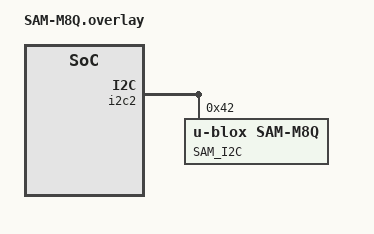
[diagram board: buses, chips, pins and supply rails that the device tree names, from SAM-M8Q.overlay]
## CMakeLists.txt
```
# SPDX-License-Identifier: Apache-2.0

cmake_minimum_required(VERSION 3.20.0)

list(APPEND BOARD_ROOT ${CMAKE_CURRENT_SOURCE_DIR}/../../cas-zephyr-drivers/zephyr)
list(APPEND SOC_ROOT ${CMAKE_CURRENT_SOURCE_DIR}/../../cas-zephyr-drivers/zephyr)
list(APPEND DTS_ROOT ${CMAKE_CURRENT_SOURCE_DIR}/../../cas-zephyr-drivers/zephyr)

# To add out-of-tree device drivers to the project, uncomment the following line.
# list(APPEND ZEPHYR_EXTRA_MODULES ${CMAKE_CURRENT_SOURCE_DIR}/../../cas-zephyr-drivers/zephyr/drivers/my_driver)

find_package(Zephyr REQUIRED HINTS $ENV{ZEPHYR_BASE})

# Update the following line to contain the name of the current application.
project(GPS)

# If you have multiple source files, list all of them here.
target_sources(app PRIVATE src/main.c src/sam_m8q.c src/sc18is600.c src/sam_m8q.h src/sc18is600.h src/cas_spi.c src/cas_spi.h)
```

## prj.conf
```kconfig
CONFIG_I2C=y
CONFIG_SAM_M8Q=y
```

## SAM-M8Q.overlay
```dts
&i2c2 {
	status = "okay";
	sam_i2c_node: sam@42 {
		compatible = "u-blox,sam-m8q";
		reg = <0x42>;
		label = "SAM_I2C";
	};
};
```

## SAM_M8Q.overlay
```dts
&i2c3 {
	status = "okay";
	sam_m8q_node: sam_m8q@42 {
		compatible = "u-blox,sam-m8q";
		reg = <0x42>;
		label = "SAM_M8Q";
	};
};
```

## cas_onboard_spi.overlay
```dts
&spi3 {
	status = "okay";
	cs-gpios = <&gpioc 8 GPIO_ACTIVE_LOW>;
	label = "SPI3";
};
```

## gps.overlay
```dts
&i2c1 {
	status = "okay";
	clock-frequency = <I2C_BITRATE_STANDARD>;
};
```

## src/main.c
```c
/* Application to communicate with the SAM-M8Q GNSS module over 
 * I2C and get latitude, longitude, and altitude readings.
 * 
 * The cas-stack needs to have the I2C1 and I2C2 buses shorted together
 * for this application to work, because the sam_m8q is actually
 * attached to the I2C2 bus.
 */

#include <zephyr.h>
#include <device.h>
#include <devicetree.h>
#include <drivers/i2c.h>
#include "sam_m8q.h"

#define DEVICE_NODE cas_i2c0

void main(void) {

	printk("--- SAM-M8Q GPS Module ---\n");

	const struct device *i2c_dev = DEVICE_DT_GET(DT_NODELABEL(DEVICE_NODE));
	if (i2c_dev == NULL) {
		printk("Error in main.c: Failed to get device binding.\n");
		return;
	}
	if (!device_is_ready(i2c_dev)) {
		printk("Error in main.c: Device is not ready.\n");
		return;
	}

	PVTData *pvt;

	while(1) {

		k_msleep(1000);
	
		pvt = sam_m8q_get_pvt_data(i2c_dev);

		printk("Year: %d, Month: %d, Day: %d\n", pvt->year, pvt->month, pvt->day);
		printk("Hour: %d, Minute: %d, Second: %d\n", pvt->hour, pvt->min, pvt->sec);
		printk("Latitude: %d degrees, Longitude: %d degrees\n", (pvt->latitude)/10000000, (pvt->longitude)/10000000);
		printk("Height: %d meters, Height above sea level: %d meters\n", (pvt->height)/1000, (pvt->hMSL)/1000);
		printk("Time/Date valid?: %d", (pvt->validTimeFlag & 0x03 != 0));
		printk("\n\n");

	}

	return;

}
```

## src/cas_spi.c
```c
#include <device.h>
#include <drivers/spi.h>
#include <drivers/gpio.h>
#include "cas_spi.h"

uint8_t write_buf_contents[MAX_SPI_DATA_LENGTH];
uint8_t read_buf_contents[MAX_SPI_DATA_LENGTH];

struct spi_buf write_buf = {
	.buf = write_buf_contents,
	.len = 0,
};
struct spi_buf read_buf = {
	.buf = read_buf_contents,
	.len = 0,
};

struct spi_buf_set write_buf_set = {
	.buffers = &write_buf,
	.count = 1,
};
struct spi_buf_set read_buf_set = {
	.buffers = &read_buf,
	.count = 1,
};

void clear_write_buf_set() {
	for (int i=0; i<MAX_SPI_DATA_LENGTH; i++) { write_buf_contents[i] = 0x00; }
	write_buf.len = 0;
}
void clear_read_buf_set() {
	for (int i=0; i<MAX_SPI_DATA_LENGTH; i++) { read_buf_contents[i] = 0x00; }
	read_buf.len = 0;
}

int cas_spi_transceive(struct device *dev, struct spi_config *cfg, 
						uint8_t *send_buf, uint8_t send_length,
						uint8_t *receive_buf, uint8_t receive_length) {

	if (send_length > MAX_SPI_DATA_LENGTH || receive_length > MAX_SPI_DATA_LENGTH) {
		printk("Error in cas_spi.c: write or read length is too long.\n");
		return -1;
	}

	clear_write_buf_set();
	clear_read_buf_set();

	for (int i=0; i<send_length; i++) { write_buf_contents[i] = send_buf[i]; }
	write_buf.len = send_length;
	read_buf.len = receive_length;

	int status = spi_transceive(dev, cfg, &write_buf_set, &read_buf_set);
	if (status != 0) printk("Error in cas_spi.c: Failed to transceive over spi.\n");

	for (int i=0; i<receive_length; i++) { receive_buf[i] = read_buf_contents[i]; }

	return status;

}
```

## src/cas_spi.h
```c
#include <device.h>
#include <drivers/spi.h>
#include <drivers/gpio.h>

#ifndef CAS_SPI_HEADER
#define CAS_SPI_HEADER

/* Arbitrarily chosen for convenience purposes. This value can be increased if
 * desired, but be aware that the specific device you are communicating with
 * might have stricter limits on the amount of data it can recieve. */
#define MAX_SPI_DATA_LENGTH 90

void clear_write_buf_set();

void clear_read_buf_set();

int cas_spi_transceive(struct device *dev, struct spi_config *cfg, 
					   uint8_t *send_buf, uint8_t send_length,
					   uint8_t *receive_buf, uint8_t receive_length);

#endif
```

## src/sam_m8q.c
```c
/* u-blox SAM-M8Q GNSS module
 * 
 * Datasheet: https://content.u-blox.com/sites/default/files/SAM-M8Q_DataSheet_%28UBX-16012619%29.pdf
 * Protocol Specification: https://content.u-blox.com/sites/default/files/products/documents/u-blox8-M8_ReceiverDescrProtSpec_UBX-13003221.pdf
 *
 * Note: for more information about how this code works, please
 * see pages 168-179 and page 374 of the protocol specification.
 */

#include <device.h>
#include <drivers/i2c.h>
#include "sam_m8q.h"

/* Copied from this implementation:
 * https://github.com/melopero/Melopero_UBX/blob/master/src/Melopero_UBX.cpp */
void computeChecksum(UbxMessage *msg){
  msg->checksumA = msg->msgClass;
  msg->checksumB = msg->checksumA;
  msg->checksumA += msg->msgId;
  msg->checksumB += msg->checksumA;
  msg->checksumA += msg->length % (1<<8);
  msg->checksumB += msg->checksumA;
  msg->checksumA += msg->length >> 8;
  msg->checksumB += msg->checksumA;
  for (int i = 0; i < msg->length; i++){
    msg->checksumA += msg->payload[i];
    msg->checksumB += msg->checksumA;
  }
}

/* The I2C bytes need to be sent all in one I2C transmission.
 * It doesn't work if you transmit one byte at a time. */
void send_ubx_msg(struct device *dev, UbxMessage *msg) {
	uint8_t send_buf[MAX_UBX_MESSAGE_LENGTH];
	send_buf[0] = SYNC_CHAR_1;
	send_buf[1] = SYNC_CHAR_2;
	send_buf[2] = msg->msgClass;
	send_buf[3] = msg->msgId;
	send_buf[4] = (msg->length & 0x00FF);
	send_buf[5] = ((msg->length & 0xFF00) >> 8);
	for (int i=0; i<(msg->length); i++) {
		send_buf[i+6] = msg->payload[i];
	}
	send_buf[msg->length + 6] = msg->checksumA;
	send_buf[msg->length + 7] = msg->checksumB;
	i2c_write(dev, send_buf, (msg->length + 8), SAM_M8Q_I2C_ADDR);
	return;
}

/* The sam-m8q is constantly outputting garbage we don't need
 * (including NMEA messages and lots of 0xFF bytes), so it's
 * important to check the two sync chars to verify this is
 * the correct message we want to read in. */
UbxMessage* receive_ubx_msg(struct device *dev) {

	int timeout = 1000000;

	char sync1 = 0;
	char sync2 = 0;
	UbxMessage *msg = create_ubx_msg(0, 0, 0, NULL);
	
	while (1) {

		timeout--;
		if (timeout < 0) { 
			printk("Error in sam-m8q.c: Waited too long to recieve UBX reply.\n");
			break; 
		}

		i2c_read(dev, &sync1, 1, SAM_M8Q_I2C_ADDR);
		if (sync1 == SYNC_CHAR_1) {
			i2c_read(dev, &sync2, 1, SAM_M8Q_I2C_ADDR);
			if (sync2 == SYNC_CHAR_2) {

				i2c_read(dev, &(msg->msgClass), 1, SAM_M8Q_I2C_ADDR);
				i2c_read(dev, &(msg->msgId), 1, SAM_M8Q_I2C_ADDR);
				i2c_read(dev, &(msg->length), 2, SAM_M8Q_I2C_ADDR);
				i2c_read(dev, msg->payload, msg->length, SAM_M8Q_I2C_ADDR);
				i2c_read(dev, &(msg->checksumA), 1, SAM_M8Q_I2C_ADDR);
				i2c_read(dev, &(msg->checksumB), 1, SAM_M8Q_I2C_ADDR);
				break;

			}
		}
	}

	return msg;

}

UbxMessage* create_ubx_msg(uint8_t class, uint8_t id, uint16_t length, uint8_t *payload_buf) {
	if (length > MAX_UBX_PAYLOAD_LENGTH) {
		printk("Error in sam-m8q.c: Message is too long.\n");
		return NULL;
	}
	static UbxMessage msg;
	msg.msgClass = class;
	msg.msgId = id;
	msg.length = length;
	for (int i=0; i<MAX_UBX_PAYLOAD_LENGTH; i++) { msg.payload[i] = 0; }
	for (int i=0; i<length; i++) { msg.payload[i] = payload_buf[i]; }
	computeChecksum(&msg);
	return &msg;
}

PVTData* sam_m8q_get_pvt_data(struct device *dev) {
	UbxMessage *msg_request = create_ubx_msg(NAV_CLASS, NAV_PVT, 0, NULL);
	send_ubx_msg(dev, msg_request);
	UbxMessage *msg_response = receive_ubx_msg(dev);
	return (PVTData*) msg_response->payload;
}
```

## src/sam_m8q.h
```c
/* u-blox SAM-M8Q GNSS module
 * 
 * Datasheet: https://content.u-blox.com/sites/default/files/SAM-M8Q_DataSheet_%28UBX-16012619%29.pdf
 * Protocol Specification: https://content.u-blox.com/sites/default/files/products/documents/u-blox8-M8_ReceiverDescrProtSpec_UBX-13003221.pdf
 */

#include <device.h>
#include <drivers/i2c.h>

#ifndef SAM_M8Q_HEADER
#define SAM_M8Q_HEADER

#define SAM_M8Q_I2C_ADDR 0x42

#define SYNC_CHAR_1 0xB5
#define SYNC_CHAR_2 0x62

#define NAV_CLASS 0x01
#define RXM_CLASS 0x02
#define INF_CLASS 0x04
#define ACK_CLASS 0x05
#define CFG_CLASS 0x06
#define UPD_CLASS 0x09
#define MON_CLASS 0x0A
#define AID_CLASS 0x0B
#define TIM_CLASS 0x0D
#define ESF_CLASS 0x10
#define MGA_CLASS 0x13
#define LOG_CLASS 0x21
#define SEC_CLASS 0x27
#define HNR_CLASS 0x28

#define NAV_POSLLH 0x02
#define NAV_PVT 0x07

#define ACK_ACK 0x01
#define ACK_NAK 0x00

#define CFG_PRT 0x00
#define CFG_MSG 0x01
#define CFG_RATE 0x08

#define NO_FIX 0
#define DEAD_RECKONING_ONLY 1
#define TWO_D_FIX 2
#define THREE_D_FIX 3
#define GNSS_DEAD_RECKONING_COMBINED 4
#define TIME_ONLY_FIX 5

/* Arbitrarily chosen value since it is a
 * convenient round number. */
#define MAX_UBX_PAYLOAD_LENGTH 100
/* The length of the entire message is equal to
 * the payload length plus 1 byte for the class, 1
 * byte for the id, 2 bytes for the length, 2 bytes
 * for the CRC, and 2 bytes for the sync chars. */
#define MAX_UBX_MESSAGE_LENGTH (MAX_UBX_PAYLOAD_LENGTH + 8)

/* Copied from this implementation:
 * https://github.com/melopero/Melopero_UBX/blob/master/src/Melopero_UBX.h */
typedef struct {
    uint8_t msgClass;
    uint8_t msgId;
    uint16_t length;
    uint8_t payload[MAX_UBX_PAYLOAD_LENGTH];
    uint8_t checksumA;
    uint8_t checksumB;
} UbxMessage;

/* Copied from this implementation:
 * https://github.com/melopero/Melopero_UBX/blob/master/src/Melopero_UBX.h */
typedef struct {
 uint32_t itow;
 uint16_t year;
 uint8_t month;
 uint8_t day;
 uint8_t hour;
 uint8_t min;
 uint8_t sec;
 uint8_t validTimeFlag; // 7 | 6 | 5 | 4 | 3:validMag | 2:fullyResolved | 1:validTime | 0:validDate
 uint32_t timeAccuracy; //nanoseconds
 int32_t nano; //nanoseconds
 uint8_t fixType;
 uint8_t fixStatusFlags;
 uint8_t additionalFlags;
 uint8_t numberOfSatellites;
 int32_t longitude; //degrees
 int32_t latitude; //degrees
 int32_t height; //mm
 int32_t hMSL; //mm
 uint32_t horizontalAccuracy;
 uint32_t verticalAccuracy;
 int32_t velocityNorth; //mm/s
 int32_t velocityEast; //mm/s
 int32_t velocityDown; //mm/s
 int32_t groundSpeed; //mm/s
 int32_t headingOfMotion; //degrees
 uint32_t speedAccuracy; //mm/s
 int32_t headingAccuracy; //mm/s
 uint16_t positionDOP;
 uint8_t reserved;
 int32_t headingOfVehicle;
 int16_t magneticDeclination;
 uint16_t declinationAccuracy;
} PVTData;

void computeChecksum(UbxMessage *msg);

void send_ubx_msg(struct device *dev, UbxMessage *msg);

UbxMessage* receive_ubx_msg(struct device *dev);

UbxMessage* create_ubx_msg(uint8_t class, uint8_t id, uint16_t length, uint8_t *payload_buf);

PVTData* sam_m8q_get_pvt_data(struct device *dev);

#endif
```

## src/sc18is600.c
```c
/* SC18IS600 SPI-to-I2C translator module
 *
 * Datasheet: https://www.nxp.com/docs/en/data-sheet/SC18IS600.pdf
 *
 * Note: For more information about how this code works, please 
 * see pages 11-14 of the datasheet.
 */

#include <string.h>
#include <device.h>
#include <drivers/spi.h>
#include <drivers/gpio.h>
#include "sc18is600.h"
#include "cas_spi.h"

uint8_t read_internal_reg(struct device *dev, struct spi_config *cfg, uint8_t reg_address) {

	int status = 0;

	uint8_t send_buf[3] = { REG_READ_COMMAND, reg_address, 0x00 };
	int send_length = 3;
	uint8_t recieve_buf[3] = { 0x00, 0x00, 0x00 };
	int recieve_length = 3;

	status = cas_spi_transceive(dev, cfg, send_buf, send_length, recieve_buf, recieve_length);

	if (status != 0) printk("Error in sc18is600.c: Failed to read internal register.\n");

	return recieve_buf[2];

}

int check_i2c_status(struct device *dev, struct spi_config *cfg) {
	int status = 0;
	uint8_t error_code = read_internal_reg(dev, cfg, I2C_STATUS_REG);
	switch (error_code) {
		case I2C_NO_ERR : status = 0; break;
		case I2C_ERR_NO_RESPONSE_1 : status = 1; printk("Error in sc18is600.c: I2C no response (type 1).\n");
		case I2C_ERR_NO_RESPONSE_2 : status = 2; printk("Error in sc18is600.c: I2C no response (type 2).\n");
		case I2C_ERR_BUSY : status = 3; printk("Error in sc18is600.c: I2C device is busy.\n");
		case I2C_ERR_TIMEOUT : status = 4; printk("Error in sc18is600.c: I2C timeout.\n");
		case I2C_ERR_INVALID_LENGTH : status = 5; printk("Error in sc18is600.c: invalid I2C message length.\n");
	}
	return status;
}

int i2c_write_translated(struct device *dev, struct spi_config *cfg, uint8_t *i2c_data_buf, uint8_t i2c_num_bytes, uint8_t i2c_addr) {

	int status = 0;

	uint8_t send_buf[MAX_SPI_DATA_LENGTH];
	send_buf[0] = WRITE_COMMAND;
	send_buf[1] = i2c_num_bytes;
	send_buf[2] = i2c_addr;
	for (int i=0; i<i2c_num_bytes; i++) { send_buf[i+3] = i2c_data_buf[i]; }
	int send_length = i2c_num_bytes + 3;

	uint8_t recieve_buf = NULL;
	int recieve_length = 0;

	status = cas_spi_transceive(dev, cfg, send_buf, send_length, recieve_buf, recieve_length);

	if (status != 0) printk("Error in sc18is600.c: SPI-write to I2C-write translation failed.\n");

	status = check_i2c_status(dev, cfg);

	if (status != 0) printk("Error in sc18is600.c: I2C error code appeared in I2C status register.\n");

	return status;
	
}

/* The first command tells the device to read from the I2C bus and store the data
 * in the read buffer. The second command tells the device to return the data in the
 * read buffer to the CPU over the SPI bus. */
int i2c_read_translated(struct device *dev, struct spi_config *cfg, uint8_t *i2c_data_buf, uint8_t i2c_num_bytes, uint8_t i2c_addr) {

	int status = 0;

	uint8_t send_1_buf[3] = { READ_COMMAND, i2c_num_bytes, i2c_addr };
	int send_1_length = 3;
	uint8_t recieve_1_buf = NULL;
	int recieve_1_length = 0;

	status = cas_spi_transceive(dev, cfg, send_1_buf, send_1_length, recieve_1_buf, recieve_1_length);

	if (status != 0) printk("Error in sc18is600.c: SPI-read to I2C-read translation failed (part 1).\n");

	uint8_t send_2_buf[1] = { READ_BUFFER_COMMAND };
	int send_2_length = 1;
	uint8_t recieve_2_buf[MAX_SPI_DATA_LENGTH];
	int recieve_2_length = i2c_num_bytes;

	status = cas_spi_transceive(dev, cfg, send_2_buf, send_2_length, recieve_2_buf, recieve_2_length);

	if (status != 0) printk("Error in sc18is600.c: SPI-read to I2C-read translation failed (part 2).\n");

	status = check_i2c_status(dev, cfg);

	if (status != 0) printk("Error in sc18is600.c: I2C error code appeared in I2C status register.\n");

	for (int i=0; i<i2c_num_bytes; i++) {
		i2c_data_buf[i] = recieve_2_buf[i];
	}

	return status;
	
}
```

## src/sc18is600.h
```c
/* SC18IS600 SPI-to-I2C translator module
 *
 * Datasheet: https://www.nxp.com/docs/en/data-sheet/SC18IS600.pdf
 */

#include <device.h>
#include <drivers/spi.h>
#include <drivers/gpio.h>

#ifndef SC18IS600_HEADER
#define SC18IS600_HEADER

#define WRITE_COMMAND 0x00
#define READ_COMMAND 0x01
#define READ_AFTER_WRITE_COMMAND 0x02
#define WRITE_AFTER_WRITE_COMMAND 0x03
#define READ_BUFFER_COMMAND 0x06
#define SPI_CONFIG_COMMAND 0x18
#define REG_WRITE_COMMAND 0x20
#define REG_READ_COMMAND 0x21
#define POWER_DOWN_COMMAND 0x30

#define IO_CONFIG_REG 0x00
#define IO_STATE_REG 0x01
#define I2C_CLOCK_REG 0x02
#define I2C_TIMEOUT_REG 0x03
#define I2C_STATUS_REG 0x04
#define I2C_ADDRESS_REG 0x05

#define I2C_NO_ERR 0xF0
#define I2C_ERR_NO_RESPONSE_1 0xF1
#define I2C_ERR_NO_RESPONSE_2 0xF2
#define I2C_ERR_BUSY 0xF3
#define I2C_ERR_TIMEOUT 0xF8
#define I2C_ERR_INVALID_LENGTH 0xF9

uint8_t read_internal_reg(struct device *dev, struct spi_config *cfg, uint8_t reg_address);

int check_i2c_status(struct device *dev, struct spi_config *cfg);

int i2c_write_translated(struct device *dev, struct spi_config *cfg, uint8_t *i2c_data_buf, uint8_t i2c_num_bytes, uint8_t i2c_addr);

int i2c_read_translated(struct device *dev, struct spi_config *cfg, uint8_t *i2c_data_buf, uint8_t i2c_num_bytes, uint8_t i2c_addr);

#endif
```
